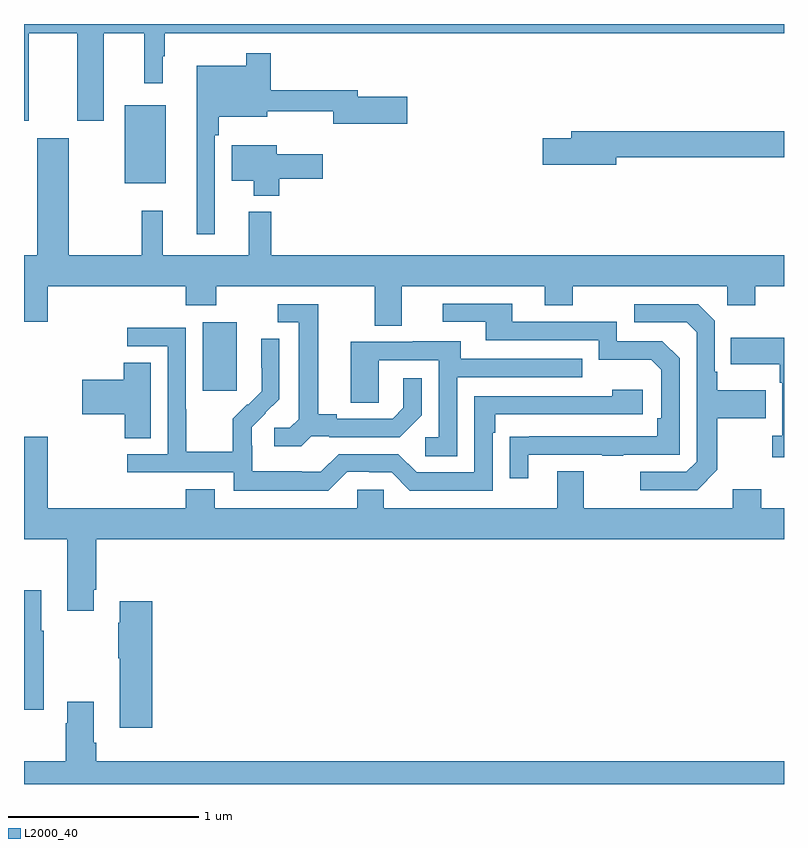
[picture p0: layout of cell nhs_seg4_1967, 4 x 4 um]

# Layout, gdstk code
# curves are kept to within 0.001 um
import gdstk
lib = gdstk.Library(unit=1e-6, precision=1e-09)
def R(c, l, rs):  # rectangles x0, y0, x1, y1
    for r in rs: c.add(gdstk.rectangle(r[:2], r[2:], *l))
def P(c, l, *ps):  # polygons
    for p in ps: c.add(gdstk.Polygon(p, *l))
L2000_40 = (2000, 40)

nhs_seg4_1967 = lib.new_cell('nhs_seg4_1967')
R(nhs_seg4_1967, L2000_40, [(213.941,762.969,214.12,763.33), (213.53,764.063,213.745,764.473)])
P(nhs_seg4_1967, L2000_40, [(213.025,764.852),(213.281,764.852),(213.281,764.391),(213.421,764.391),(213.421,764.852),(213.632,764.852),(213.632,764.589),(213.73,764.589),(213.73,764.729),(213.742,764.729),(213.742,764.852),(217,764.852),(217,764.9),(213,764.9),(213,764.391),(213.025,764.391)],
  [(214.005,764.315),(214.025,764.315),(214.025,764.411),(214.279,764.411),(214.279,764.44),(214.628,764.44),(214.628,764.375),(215.017,764.375),(215.017,764.517),(214.756,764.517),(214.756,764.551),(214.298,764.551),(214.298,764.746),(214.17,764.746),(214.17,764.68),(213.908,764.68),(213.908,763.794),(214.005,763.794)],
  [(216.118,764.2),(217,764.2),(217,764.336),(215.879,764.336),(215.879,764.3),(215.73,764.3),(215.73,764.158),(216.118,764.158)],
  [(214.987,763.52),(215.741,763.52),(215.741,763.421),(215.889,763.421),(215.889,763.52),(216.702,763.52),(216.702,763.421),(216.849,763.421),(216.849,763.52),(217,763.52),(217,763.684),(214.301,763.684),(214.301,763.912),(214.184,763.912),(214.184,763.684),(213.731,763.684),(213.731,763.918),(213.621,763.918),(213.621,763.684),(213.235,763.684),(213.235,764.299),(213.071,764.299),(213.071,763.684),(213,763.684),(213,763.332),(213.124,763.332),(213.124,763.52),(213.851,763.52),(213.851,763.421),(214.011,763.421),(214.011,763.52),(214.847,763.52),(214.847,763.312),(214.987,763.312)],
  [(214.343,764.086),(214.573,764.086),(214.573,764.215),(214.33,764.215),(214.33,764.263),(214.094,764.263),(214.094,764.075),(214.208,764.075),(214.208,763.997),(214.343,763.997)],
  [(215.653,762.633),(216.043,762.633),(216.043,762.628),(216.155,762.628),(216.155,762.633),(216.45,762.633),(216.45,763.14),(216.36,763.23),(216.12,763.23),(216.12,763.332),(215.569,763.332),(215.569,763.428),(215.205,763.428),(215.205,763.332),(215.429,763.332),(215.429,763.236),(216.024,763.236),(216.024,763.133),(216.301,763.133),(216.354,763.08),(216.354,762.826),(216.334,762.826),(216.334,762.729),(215.557,762.728),(215.557,762.51),(215.653,762.51)],
  [(214.512,762.729),(214.606,762.729),(214.606,762.726),(214.978,762.726),(215.094,762.842),(215.094,763.036),(214.997,763.036),(214.997,762.879),(214.94,762.822),(214.645,762.822),(214.645,762.845),(214.549,762.845),(214.549,763.425),(214.335,763.425),(214.335,763.329),(214.445,763.329),(214.445,762.821),(214.398,762.774),(214.317,762.774),(214.317,762.677),(214.46,762.677)],
  [(216.649,762.553),(216.649,762.826),(216.905,762.826),(216.905,762.973),(216.649,762.973),(216.649,763.069),(216.636,763.069),(216.636,763.338),(216.549,763.425),(216.213,763.425),(216.213,763.329),(216.489,763.329),(216.54,763.278),(216.54,762.597),(216.486,762.543),(216.243,762.543),(216.243,762.447),(216.543,762.447)],
  [(214.701,762.543),(214.817,762.543),(214.817,762.54),(214.935,762.54),(215.031,762.444),(215.466,762.444),(215.466,762.749),(215.479,762.749),(215.479,762.846),(216.256,762.846),(216.256,762.976),(216.095,762.976),(216.095,762.942),(215.37,762.942),(215.37,762.54),(215.067,762.54),(214.971,762.636),(214.656,762.636),(214.563,762.543),(214.463,762.543),(214.463,762.547),(214.2,762.547),(214.2,762.681),(214.198,762.681),(214.198,762.778),(214.344,762.926),(214.344,763.244),(214.248,763.244),(214.248,763.09),(214.25,763.09),(214.25,762.968),(214.179,762.897),(214.176,762.9),(214.099,762.823),(214.099,762.649),(213.855,762.649),(213.855,762.872),(213.852,762.872),(213.852,763.302),(213.543,763.302),(213.543,763.203),(213.756,763.203),(213.756,762.636),(213.543,762.636),(213.543,762.54),(214.104,762.54),(214.104,762.443),(214.601,762.443)],
  [(217,763.249),(216.721,763.249),(216.721,763.109),(216.978,763.109),(216.978,763.013),(216.99,763.013),(216.99,762.734),(216.939,762.734),(216.939,762.621),(217,762.621)],
  [(215.28,763.041),(215.939,763.041),(215.939,763.137),(215.299,763.137),(215.299,763.231),(215.045,763.231),(215.045,763.227),(214.721,763.227),(214.721,762.907),(214.866,762.907),(214.866,763.131),(215.184,763.131),(215.184,762.726),(215.112,762.726),(215.112,762.625),(215.28,762.625)],
  [(213.667,763.118),(213.524,763.118),(213.524,763.028),(213.306,763.028),(213.306,762.845),(213.529,762.845),(213.529,762.721),(213.667,762.721)],
  [(213.367,761.923),(213.38,761.923),(213.38,762.188),(217,762.188),(217,762.352),(216.879,762.352),(216.879,762.451),(216.731,762.451),(216.731,762.352),(215.947,762.352),(215.947,762.547),(215.807,762.547),(215.807,762.352),(214.893,762.352),(214.893,762.45),(214.755,762.45),(214.755,762.352),(214.003,762.352),(214.003,762.451),(213.851,762.451),(213.851,762.352),(213.124,762.352),(213.124,762.727),(213,762.727),(213,762.188),(213.227,762.188),(213.227,761.811),(213.367,761.811)],
  [(213.103,761.707),(213.091,761.707),(213.091,761.92),(213,761.92),(213,761.291),(213.103,761.291)],
  [(213.676,761.863),(213.503,761.863),(213.503,761.75),(213.496,761.75),(213.496,761.561),(213.503,761.561),(213.503,761.196),(213.676,761.196)],
  [(213.367,761.116),(213.367,761.332),(213.227,761.332),(213.227,761.219),(213.22,761.219),(213.22,761.02),(213,761.02),(213,760.9),(217,760.9),(217,761.02),(213.38,761.02),(213.38,761.116)])

lib.write_gds('nhs_seg4_1967.gds')
